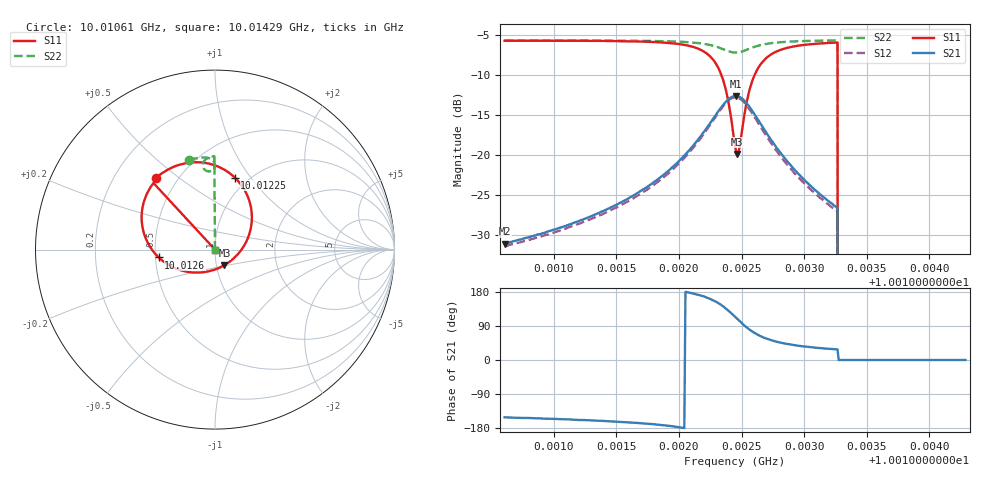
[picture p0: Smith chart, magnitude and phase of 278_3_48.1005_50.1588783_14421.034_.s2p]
#  HZ  S  RI  R  50.00
! Rohde & Schwarz Vector Network Analyzer
! Rohde-Schwarz,ZNB20-2Port,1311601062101988,3.16
! Created: UTC 12/23/2023, 4:02:29 AM
! freq[Hz]  re:S11  im:S11  re:S21  im:S21  re:S12  im:S12  re:S22  im:S22
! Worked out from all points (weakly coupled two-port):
!   401 points, 10.01061 GHz to 10.01429 GHz, reference 50 ohm
!   highest |S21| = -12.61 dB at 10.01246 GHz (marker M1); lowest = -31.1 dB at 10.01061 GHz (marker M2)
!   lowest |S11| = -19.9 dB at 10.01247 GHz (marker M3), VSWR 1.23, Z = 54.7 - j9.58 ohm
!   |S11| at or under -10 dB: 10.01234 GHz to 10.0126 GHz (265 kHz wide, 0.00265 % of centre); 10.01327 GHz to end of sweep
!   |S22| runs from - to -5.7 dB; largest |S21 - S12| = 0.011
!   S11 on the Smith chart (normalised r, x): 10.01061 GHz: 0.38, +0.41; 10.01225 GHz: 0.87, +0.84; 10.0126 GHz: 0.52, -0.05; 10.01429 GHz: 1.00, +0.00
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1.0010609e10  -0.3296 0.3997  -0.0245 -0.0135  -0.023 -0.0142  -0.1439 0.4991
1.0011225e10  -0.2724 0.4402  -0.0367 -0.0145  -0.0344 -0.0157  -0.1022 0.5095
1.0011841e10  -0.1538 0.4831  -0.0705 -0.0112  -0.0673 -0.0144  -0.0522 0.5132
1.0012099e10  -0.0256 0.477  -0.1108 0.00652  -0.1074 0.000179  -0.0238 0.5055
1.0012246e10  0.1103 0.4015  -0.1489 0.0491  -0.1478 0.039  -0.00486 0.4879
1.001231e10  0.1765 0.3094  -0.1625 0.0891  -0.1634 0.0789  -0.000164 0.4725
1.0012356e10  0.2044 0.2052  -0.1607 0.1305  -0.1639 0.1203  -0.00205 0.4582
1.0012393e10  0.1957 0.1019  -0.1459 0.1676  -0.1505 0.159  -0.00926 0.4463
1.0012448e10  0.1029 -0.0503  -0.0967 0.2132  -0.1013 0.2063  -0.029 0.4361
1.0012457e10  0.0787 -0.0698  -0.0856 0.218  -0.0896 0.2114  -0.0331 0.4357
1.0012466e10  0.0528 -0.0867  -0.0744 0.2216  -0.0788 0.2149  -0.0366 0.4358
1.0012485e10  -0.00337 -0.1122  -0.0506 0.2254  -0.0557 0.2188  -0.0444 0.4375
1.0012531e10  -0.1478 -0.1249  0.00465 0.2158  -0.00173 0.2095  -0.0591 0.4477
1.0012568e10  -0.2447 -0.093  0.0368 0.1946  0.0306 0.1887  -0.0658 0.459
1.0012604e10  -0.3134 -0.0436  0.0572 0.1702  0.0505 0.1649  -0.0676 0.4703
1.0012687e10  -0.3901 0.0732  0.0756 0.1205  0.068 0.1176  -0.0627 0.4894
1.0012807e10  -0.4086 0.1958  0.0725 0.0753  0.0658 0.0745  -0.049 0.5047
1.0013064e10  -0.3733 0.3236  0.0525 0.0345  0.0485 0.0351  -0.0217 0.517
1.0013248e10  -0.3455 0.3673  0.0423 0.0227  0.0391 0.0235  -0.00532 0.52
1.0013294e10  0 0  0 0  0 0  0 0
1.001368e10  0 0  0 0  0 0  0 0
1.0014287e10  0 0  0 0  0 0  0 0
